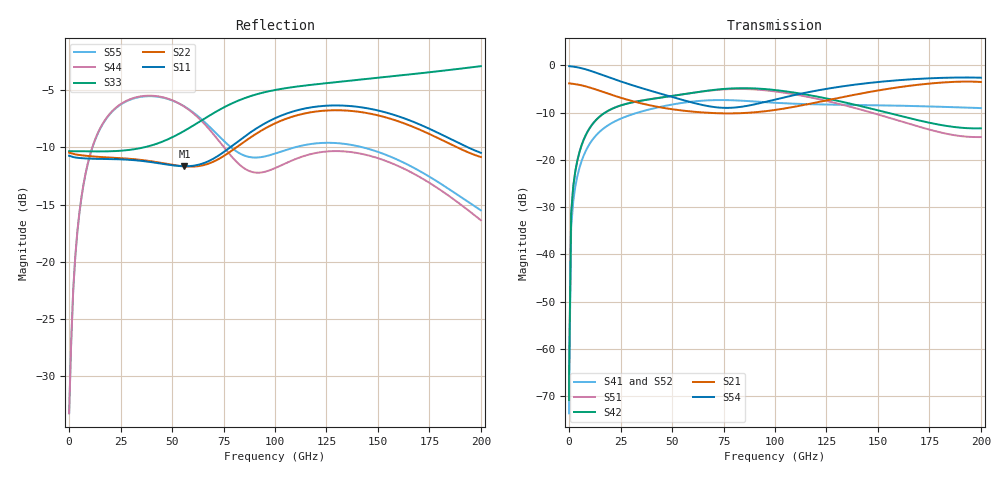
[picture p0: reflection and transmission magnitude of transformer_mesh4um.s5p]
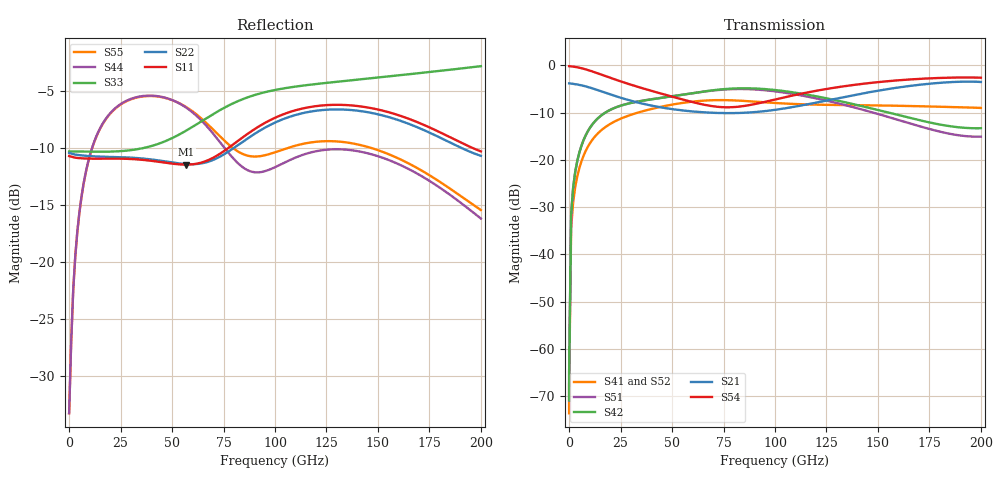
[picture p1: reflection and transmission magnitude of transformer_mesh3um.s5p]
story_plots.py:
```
#!/usr/bin/env python
"""Plots and numbers for README.md (Transformer_IMN mesh study).

Reads the de-embedded Touchstone files in results/snp/ and writes to results/plots/:

  story_uniform_LkQ.png  - primary L, coupling k, primary and secondary Q vs. frequency,
                           uniform mesh 4 -> 1 um, 30 GHz design frequency marked
  story_convergence.png  - L, k and Q at 30 GHz vs. DOF, relative to the 1 um result,
                           uniform mesh and AMR final

It also prints the numbers quoted in README.md.

Coil figures of merit, from the 5-port Z-matrix (ports not used are open-circuited):
  primary   = differential port 1/2,  Zp = Z11 - Z12 - Z21 + Z22
  secondary = differential port 4/5,  Zs = Z44 - Z45 - Z54 + Z55
  mutual                              Zm = Z14 - Z15 - Z24 + Z25
  L = Im(Z)/w,  Q = Im(Z)/Re(Z),  k = |Im(Zm)| / sqrt(Im(Zp) * Im(Zs))
The center tap (port 3) is open in this reduction.
"""
import os
import numpy as np
import skrf as rf
import matplotlib
matplotlib.use("Agg")
import matplotlib.pyplot as plt

HERE = os.path.dirname(os.path.abspath(__file__))
SNP_DIR = os.path.join(HERE, "snp")
PLOT_DIR = os.path.join(HERE, "plots")

F_DESIGN = 30e9
F_PLOT_MAX = 40e9  # primary self-resonance near 47 GHz; k loses its meaning there

# uniform sweep, coarse -> fine; ordinal blue ramp, light -> dark (5 um crashed, see README)
UNIFORM = [
    ("4 µm", "transformer_mesh4um.s5p", "#86b6ef", 171460, "4m 2s"),
    ("3 µm", "transformer_mesh3um.s5p", "#3987e5", 209202, "4m 50s"),
    ("2 µm", "transformer_mesh2um.s5p", "#1c5cab", 312234, "7m 4s"),
    ("1 µm", "transformer_mesh1um.s5p", "#0d366b", 576114, "14m 4s"),
]
# Palace reports elapsed time cumulatively, so this covers all 3 AMR iterations
AMR = ("AMR final", "transformer_amr3_final.s5p", 2070680, "1h 47m")
REFERENCE = "transformer_mesh1um.s5p"

INK = "#0b0b0b"
INK2 = "#52514e"
GRID = "#e4e3de"
BLUE = "#2a78d6"
ORANGE = "#eb6834"
AQUA = "#1baf7a"
MAGENTA = "#e87ba4"


def load(fname):
    return rf.Network(os.path.join(SNP_DIR, fname))


def coil(ntw):
    z = ntw.z
    w = 2 * np.pi * ntw.f
    zp = z[:, 0, 0] - z[:, 0, 1] - z[:, 1, 0] + z[:, 1, 1]
    zs = z[:, 3, 3] - z[:, 3, 4] - z[:, 4, 3] + z[:, 4, 4]
    zm = z[:, 0, 3] - z[:, 0, 4] - z[:, 1, 3] + z[:, 1, 4]
    return {
        "Lp": zp.imag / w * 1e9,
        "Ls": zs.imag / w * 1e9,
        "Qp": zp.imag / zp.real,
        "Qs": zs.imag / zs.real,
        "k": np.abs(zm.imag) / np.sqrt(np.abs(zp.imag * zs.imag)),
    }


def at(ntw, values, f_hz):
    return np.interp(f_hz, ntw.f, values)


def style(ax):
    ax.grid(True, color=GRID, linewidth=0.8)
    ax.set_axisbelow(True)
    for side in ("top", "right"):
        ax.spines[side].set_visible(False)
    for side in ("left", "bottom"):
        ax.spines[side].set_color(INK2)
    ax.tick_params(colors=INK2, labelsize=9)


def plot_uniform():
    panels = [
        ("Lp", "Primary inductance (nH)"),
        ("k", "Coupling factor k"),
        ("Qp", "Primary Q"),
        ("Qs", "Secondary Q"),
    ]
    fig, axes = plt.subplots(2, 2, figsize=(10, 6.6), sharex=True)
    for label, fname, color, _, _ in UNIFORM:
        ntw = load(fname)
        sel = (ntw.f >= 1e9) & (ntw.f <= F_PLOT_MAX)
        m = coil(ntw)
        for ax, (key, _) in zip(axes.flat, panels):
            ax.plot(ntw.f[sel] / 1e9, m[key][sel], color=color, linewidth=2, label=label)
    for ax, (_, title) in zip(axes.flat, panels):
        style(ax)
        ax.set_title(title, loc="left", fontsize=11, color=INK)
        ax.axvline(F_DESIGN / 1e9, color=INK2, linewidth=1, linestyle=":")
    axes[0, 0].text(F_DESIGN / 1e9, 0.97, " 30 GHz design", transform=axes[0, 0].get_xaxis_transform(),
                    fontsize=8, color=INK2, va="top")
    for ax in axes[1]:
        ax.set_xlabel("Frequency (GHz)", color=INK2)
    handles, labels = axes[0, 0].get_legend_handles_labels()
    fig.legend(handles, labels, loc="upper center", ncol=4, frameon=False, fontsize=9,
               title="refined_cellsize (uniform, order 2)", title_fontsize=9)
    fig.tight_layout(rect=(0, 0, 1, 0.92))
    out = os.path.join(PLOT_DIR, "story_uniform_LkQ.png")
    fig.savefig(out, dpi=130, facecolor="white")
    plt.close(fig)
    print("wrote", out)


def plot_convergence():
    ref = load(REFERENCE)
    r = coil(ref)
    quantities = [("Lp", "primary L", BLUE, "o"), ("k", "coupling k", ORANGE, "s"),
                  ("Qp", "primary Q", AQUA, "D"), ("Qs", "secondary Q", MAGENTA, "^")]
    fig, ax = plt.subplots(figsize=(8, 4.6))
    style(ax)
    ax.axhline(0, color=INK2, linewidth=1)
    for key, name, color, marker in quantities:
        ref_val = at(ref, r[key], F_DESIGN)
        xs, ys = [], []
        for _, fname, _, dof, _ in UNIFORM:
            ntw = load(fname)
            xs.append(dof)
            ys.append((at(ntw, coil(ntw)[key], F_DESIGN) / ref_val - 1) * 100)
        amr = load(AMR[1])
        y_amr = (at(amr, coil(amr)[key], F_DESIGN) / ref_val - 1) * 100
        ax.plot(xs, ys, color=color, linewidth=2, marker=marker, markersize=8, label=name, zorder=3)
        ax.plot([xs[-1], AMR[2]], [ys[-1], y_amr], color=color, linewidth=1.5, linestyle=":", zorder=2)
        ax.plot([AMR[2]], [y_amr], color=color, marker=marker, markersize=8, markerfacecolor="white",
                markeredgewidth=2, linestyle="none", zorder=3)
    for label, _, _, dof, _ in UNIFORM:
        ax.annotate(label, (dof, ax.get_ylim()[0]), textcoords="offset points", xytext=(0, 4),
                    ha="center", fontsize=8, color=INK2)
    ax.annotate("AMR final\n(open markers)", (AMR[2], ax.get_ylim()[0]), textcoords="offset points",
                xytext=(0, 4), ha="center", fontsize=8, color=INK2)
    ax.set_xscale("log")
    ax.set_xlabel("Degrees of freedom (log scale)", color=INK2)
    ax.set_ylabel("Change vs. 1 µm result at 30 GHz (%)", color=INK2)
    ax.legend(frameon=False, fontsize=9, loc="upper left")
    fig.tight_layout()
    out = os.path.join(PLOT_DIR, "story_convergence.png")
    fig.savefig(out, dpi=130, facecolor="white")
    plt.close(fig)
    print("wrote", out)


def print_numbers():
    ref = load(REFERENCE)
    print()
    print(f"Values at {F_DESIGN / 1e9:.0f} GHz")
    print(f"{'variant':10s} {'Lp nH':>7s} {'Ls nH':>7s} {'k':>7s} {'Qp':>6s} {'Qs':>6s} {'MaxdS vs 1um':>12s}")
    rows = [(l, f) for l, f, _, _, _ in UNIFORM] + [AMR[:2]]
    for label, fname in rows:
        ntw = load(fname)
        m = coil(ntw)
        v = {k: at(ntw, m[k], F_DESIGN) for k in m}
        d = np.abs(ntw.s - ref.s)[ntw.f >= 1e9].max()
        print(f"{label:10s} {v['Lp']:7.4f} {v['Ls']:7.4f} {v['k']:7.4f} {v['Qp']:6.2f} {v['Qs']:6.2f} {d:12.4f}")


if __name__ == "__main__":
    os.makedirs(PLOT_DIR, exist_ok=True)
    plot_uniform()
    plot_convergence()
    print_numbers()
```
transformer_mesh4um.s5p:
! Created with skrf 2.1.0 (http://scikit-rf.org).
# GHz S DB R 50.0
! Port[1] = P1
! Port[2] = P2
! Port[3] = P3
! Port[4] = P4
! Port[5] = P5
!freq dBS11 angS11 dBS12 angS12 dBS13 angS13
! dBS14 angS14 dBS15 angS15
! dBS21 angS21 dBS22 angS22 dBS23 angS23
! dBS24 angS24 dBS25 angS25
! dBS31 angS31 dBS32 angS32 dBS33 angS33
! dBS34 angS34 dBS35 angS35
! dBS41 angS41 dBS42 angS42 dBS43 angS43
! dBS44 angS44 dBS45 angS45
! dBS51 angS51 dBS52 angS52 dBS53 angS53
! dBS54 angS54 dBS55 angS55
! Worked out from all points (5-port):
!   202 points, 10 MHz to 200 GHz, reference 50 ohm
!   strongest paths, dB at 10 MHz, 49 GHz, 100 GHz, 150 GHz, 200 GHz:
!     S54: -0.2, -6.6, -7.3, -3.5, -2.6
!     S21: -3.8, -9.2, -9.5, -5.3, -3.5
!     S42: -70.8, -6.6, -5.2, -9.5, -13.3
!     S51: -70.8, -6.5, -5.5, -10.4, -15.2
!     S41: -73.6, -8.4, -7.9, -8.5, -9.1
!     S52: -73.6, -8.4, -8.0, -8.6, -9.3
!   lowest |S11| = -11.6 dB at 56 GHz (marker M1), VSWR 1.71, Z = 70.4 + j24.9 ohm
!   |S11| at or under -10 dB: start of sweep to 78.17 GHz; 193.8 GHz to end of sweep
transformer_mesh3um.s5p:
! Created with skrf 2.1.0 (http://scikit-rf.org).
# GHz S DB R 50.0
! Port[1] = P1
! Port[2] = P2
! Port[3] = P3
! Port[4] = P4
! Port[5] = P5
!freq dBS11 angS11 dBS12 angS12 dBS13 angS13
! dBS14 angS14 dBS15 angS15
! dBS21 angS21 dBS22 angS22 dBS23 angS23
! dBS24 angS24 dBS25 angS25
! dBS31 angS31 dBS32 angS32 dBS33 angS33
! dBS34 angS34 dBS35 angS35
! dBS41 angS41 dBS42 angS42 dBS43 angS43
! dBS44 angS44 dBS45 angS45
! dBS51 angS51 dBS52 angS52 dBS53 angS53
! dBS54 angS54 dBS55 angS55
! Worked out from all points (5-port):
!   202 points, 10 MHz to 200 GHz, reference 50 ohm
!   strongest paths, dB at 10 MHz, 49 GHz, 100 GHz, 150 GHz, 200 GHz:
!     S54: -0.2, -6.5, -7.2, -3.6, -2.6
!     S21: -3.8, -9.2, -9.4, -5.4, -3.5
!     S42: -70.8, -6.6, -5.2, -9.5, -13.3
!     S51: -70.8, -6.6, -5.5, -10.3, -15.1
!     S41: -73.6, -8.4, -8.0, -8.5, -9.0
!     S52: -73.6, -8.5, -8.0, -8.7, -9.3
!   lowest |S11| = -11.5 dB at 57 GHz (marker M1), VSWR 1.73, Z = 71.2 + j25.3 ohm
!   |S11| at or under -10 dB: start of sweep to 77.54 GHz; 195.7 GHz to end of sweep
